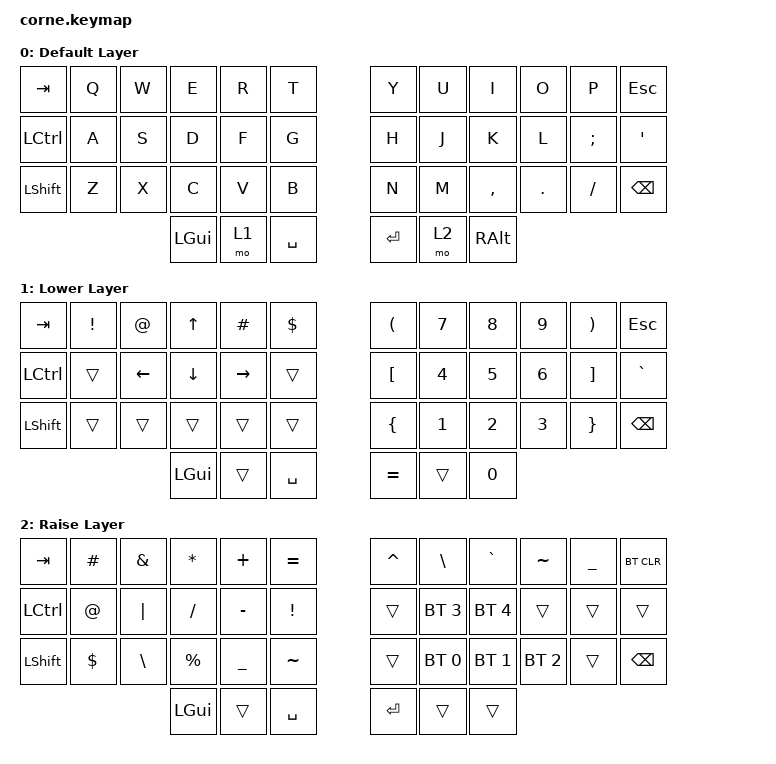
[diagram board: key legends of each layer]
/*
 * Copyright (c) 2020 The ZMK Contributors
 *
 * SPDX-License-Identifier: MIT
 */

#include <behaviors.dtsi>
#include <dt-bindings/zmk/keys.h>
#include <dt-bindings/zmk/bt.h>

/ {
        keymap {
                compatible = "zmk,keymap";

                default_layer {
                        display-name = "Default Layer";
// -----------------------------------------------------------------------------------------
// |  TAB |  Q  |  W  |  E  |  R  |  T  |   |  Y  |  U   |  I  |  O  |  P  | ESC  |
// | CTRL |  A  |  S  |  D  |  F  |  G  |   |  H  |  J   |  K  |  L  |  ;  |  '   |
// | SHFT |  Z  |  X  |  C  |  V  |  B  |   |  N  |  M   |  ,  |  .  |  /  | BSPC |
//                    | GUI | LWR | SPC |   | ENT | RSE  | ALT |
                        bindings = <
   &kp TAB   &kp Q &kp W &kp E &kp R &kp T   &kp Y &kp U  &kp I     &kp O   &kp P    &kp ESC
   &kp LCTRL &kp A &kp S &kp D &kp F &kp G   &kp H &kp J  &kp K     &kp L   &kp SEMI &kp SQT
   &kp LSHFT &kp Z &kp X &kp C &kp V &kp B   &kp N &kp M  &kp COMMA &kp DOT &kp FSLH &kp BSPC
                  &kp LGUI &mo 1 &kp SPACE   &kp RET &mo 2 &kp RALT
                        >;
                };
                lower_layer {
                        display-name = "Lower Layer";
// -----------------------------------------------------------------------------------------
// |  TAB |  !  |  @  | UP  |  #  |  $  |   | (   |  7  |  8  |  9  | )   | ESC  |
// | CTRL |     | LFT | DWN | RGT |     |   |  [  |  4  |  5  |  6  |  ]  |   `  |
// | SHFT |     |     |     |     |     |   |  {  |  1  |  2  |  3  | }   | BSPC |
//                    | GUI |     | SPC |   | =   |     |  0  |
                        bindings = <
   &kp TAB   &kp EXCL  &kp AT    &kp UP    &kp HASH  &kp DLLR    &kp LPAR &kp N7 &kp N8 &kp N9 &kp RPAR &kp ESC
   &kp LCTRL &trans    &kp LEFT  &kp DOWN  &kp RIGHT &trans      &kp LBKT &kp N4 &kp N5 &kp N6 &kp RBKT &kp GRAVE
   &kp LSHFT &trans    &trans    &trans    &trans    &trans      &kp LBRC &kp N1 &kp N2 &kp N3 &kp RBRC &kp BSPC
                    &kp LGUI &trans &kp SPACE   &kp EQUAL &trans &kp N0
                        >;
                };

                raise_layer {
                        display-name = "Raise Layer";
// -----------------------------------------------------------------------------------------
// |  TAB |  #  |   &  |  *  | +   |  = |   |  ^  |  \  |  `  |  ~  |  _  |BTCLR |
// | CTRL |  @  |  "|" | /   | -   |  ! |   |     | BT3 | BT4 |     |     |      |
// | SHFT |  $  |   \  |  %  | _   |  ~ |   |     | BT0 | BT1 | BT2 |     | BSPC |
//                    | GUI |     | SPC |   | ENT |     |     |
                        bindings = <
   &kp TAB   &kp HASH  &kp AMPS  &kp ASTRK &kp PLUS  &kp EQUAL   &kp CARET  &kp BSLH   &kp GRAVE  &kp TILDE  &kp UNDER  &bt BT_CLR
   &kp LCTRL &kp AT    &kp PIPE  &kp FSLH  &kp MINUS &kp EXCL    &trans     &bt BT_SEL 3 &bt BT_SEL 4 &trans     &trans     &trans
   &kp LSHFT &kp DLLR  &kp BSLH  &kp PRCNT &kp UNDER &kp TILDE   &trans     &bt BT_SEL 0 &bt BT_SEL 1 &bt BT_SEL 2 &trans     &kp BSPC
                    &kp LGUI &trans &kp SPACE   &kp RET &trans &trans
                        >;
                };
        };
};
